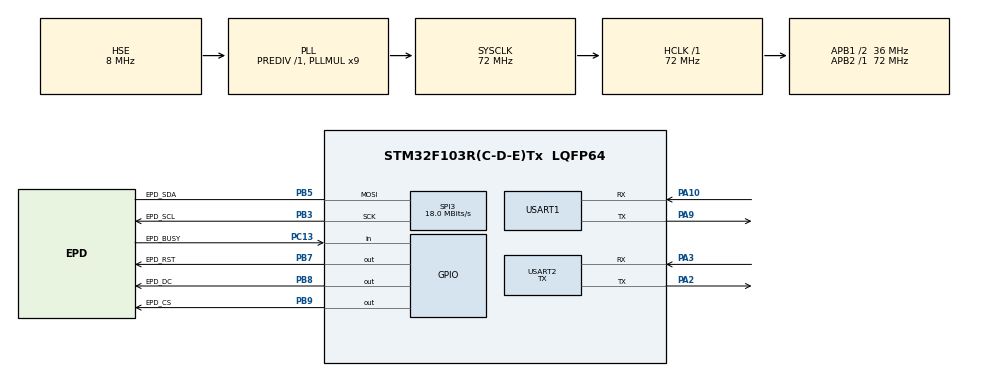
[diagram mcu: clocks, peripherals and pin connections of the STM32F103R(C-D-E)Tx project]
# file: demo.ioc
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Mcu.Family=STM32F1
Mcu.Name=STM32F103R(C-D-E)Tx
Mcu.Package=LQFP64
NVIC.PriorityGroup=NVIC_PRIORITYGROUP_4
NVIC.USART1_IRQn=true\:0\:0\:false\:false\:true\:true\:true\:true
PA10.Mode=Asynchronous
PA10.Signal=USART1_RX
PA13.Mode=Serial_Wire
PA13.Signal=SYS_JTMS-SWDIO
PA14.Mode=Serial_Wire
PA14.Signal=SYS_JTCK-SWCLK
PA2.Mode=Asynchronous
PA2.Signal=USART2_TX
PA3.Mode=Asynchronous
PA3.Signal=USART2_RX
PA9.Mode=Asynchronous
PA9.Signal=USART1_TX
PB3.GPIO_Label=EPD_SCL
PB3.Mode=Simplex_Bidirectional_Master
PB3.Signal=SPI3_SCK
PB5.GPIO_Label=EPD_SDA
PB5.Mode=Simplex_Bidirectional_Master
PB5.Signal=SPI3_MOSI
PB7.GPIO_Label=EPD_RST
PB7.Signal=GPIO_Output
PB8.GPIO_Label=EPD_DC
PB8.Signal=GPIO_Output
PB9.GPIO_Label=EPD_CS
PB9.Signal=GPIO_Output
PC13-TAMPER-RTC.GPIO_Label=EPD_BUSY
PC13-TAMPER-RTC.GPIO_PuPd=GPIO_PULLDOWN
PC13-TAMPER-RTC.Signal=GPIO_Input
PD0-OSC_IN.Mode=HSE-External-Oscillator
PD0-OSC_IN.Signal=RCC_OSC_IN
PD1-OSC_OUT.Mode=HSE-External-Oscillator
PD1-OSC_OUT.Signal=RCC_OSC_OUT
ProjectManager.HeapSize=0x200
ProjectManager.StackSize=0x400
ProjectManager.TargetToolchain=MDK-ARM V5
RCC.AHBFreq_Value=72000000
RCC.APB1CLKDivider=RCC_HCLK_DIV2
RCC.APB1Freq_Value=36000000
RCC.APB1TimFreq_Value=72000000
RCC.APB2Freq_Value=72000000
RCC.APB2TimFreq_Value=72000000
RCC.HCLKFreq_Value=72000000
RCC.PLLMUL=RCC_PLL_MUL9
RCC.PLLSourceVirtual=RCC_PLLSOURCE_HSE
RCC.SYSCLKFreq_VALUE=72000000
RCC.SYSCLKSource=RCC_SYSCLKSOURCE_PLLCLK
RCC.USBFreq_Value=72000000
SPI3.CalculateBaudRate=18.0 MBits/s
SPI3.Direction=SPI_DIRECTION_1LINE
SPI3.Mode=SPI_MODE_MASTER
SPI3.VirtualType=VM_MASTER
USART1.VirtualMode=VM_ASYNC
USART2.Mode=MODE_TX
USART2.VirtualMode=VM_ASYNC
board=custom

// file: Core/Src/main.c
/* USER CODE BEGIN Header */
/**
 ******************************************************************************
 * @file           : main.c
 * @brief          : Main program body
 ******************************************************************************
 * @attention
 *
 * <h2><center>&copy; Copyright (c) 2022 STMicroelectronics.
 * All rights reserved.</center></h2>
 *
 * This software component is licensed by ST under BSD 3-Clause license,
 * the "License"; You may not use this file except in compliance with the
 * License. You may obtain a copy of the License at:
 *                        opensource.org/licenses/BSD-3-Clause
 *
 ******************************************************************************
 */
/* USER CODE END Header */
#include "main.h"
#include "spi.h"
#include "usart.h"
#include "gpio.h"

/* USER CODE BEGIN Includes */
#include <stdlib.h>
#include "epd_1in54/epd_1in54.h"
#include "image/image.h"
/* USER CODE END Includes */

void SystemClock_Config(void);

int main(void)
{

    /* MCU Configuration--------------------------------------------------------*/

    /* Reset of all peripherals, Initializes the Flash interface and the Systick. */
    HAL_Init();

    /* Configure the system clock */
    SystemClock_Config();

    /* Initialize all configured peripherals */
    MX_GPIO_Init();
    MX_USART1_UART_Init();
    MX_SPI3_Init();
    MX_USART2_UART_Init();

    /* Infinite loop */
    /* USER CODE BEGIN WHILE */

    epd_init();

    // clear screen
    epd_clear(EPD_COLOR_BLACK);
    epd_update();
    epd_delay_ms(3000);
    epd_clear(EPD_COLOR_WHITE);
    epd_update();
    epd_delay_ms(3000);

#if 0  // x 和 w 为 8 的倍数比较好

    epd_clear(0b00110011);
    printf("1");
    epd_update();
    epd_delay_ms(3000);
#if 1
    epd_fill_rect(32, 32, 40, 40, EPD_COLOR_BLACK);
    epd_fill_rect(56, 56, 40, 40, EPD_COLOR_WHITE);
#else
    epd_fill_rect(32, 32, 40, 40, EPD_COLOR_WHITE);
    epd_fill_rect(56, 56, 40, 40, EPD_COLOR_BLACK);
#endif

#else

    epd_draw_image(0, 0, 200, 200, (uint8_t*)image_aniya);

#endif

    epd_update();
    printf("2");

    while (1) {
        /* USER CODE END WHILE */

    }
}

void SystemClock_Config(void)
{
    RCC_OscInitTypeDef RCC_OscInitStruct = {0};
    RCC_ClkInitTypeDef RCC_ClkInitStruct = {0};

    /** Initializes the RCC Oscillators according to the specified parameters
     * in the RCC_OscInitTypeDef structure.
     */
    RCC_OscInitStruct.OscillatorType = RCC_OSCILLATORTYPE_HSE;
    RCC_OscInitStruct.HSEState       = RCC_HSE_ON;
    RCC_OscInitStruct.HSEPredivValue = RCC_HSE_PREDIV_DIV1;
    RCC_OscInitStruct.HSIState       = RCC_HSI_ON;
    RCC_OscInitStruct.PLL.PLLState   = RCC_PLL_ON;
    RCC_OscInitStruct.PLL.PLLSource  = RCC_PLLSOURCE_HSE;
    RCC_OscInitStruct.PLL.PLLMUL     = RCC_PLL_MUL9;
    if (HAL_RCC_OscConfig(&RCC_OscInitStruct) != HAL_OK) {
        Error_Handler();
    }

    /** Initializes the CPU, AHB and APB buses clocks
     */
    RCC_ClkInitStruct.ClockType      = RCC_CLOCKTYPE_HCLK | RCC_CLOCKTYPE_SYSCLK | RCC_CLOCKTYPE_PCLK1 | RCC_CLOCKTYPE_PCLK2;
    RCC_ClkInitStruct.SYSCLKSource   = RCC_SYSCLKSOURCE_PLLCLK;
    RCC_ClkInitStruct.AHBCLKDivider  = RCC_SYSCLK_DIV1;
    RCC_ClkInitStruct.APB1CLKDivider = RCC_HCLK_DIV2;
    RCC_ClkInitStruct.APB2CLKDivider = RCC_HCLK_DIV1;

    if (HAL_RCC_ClockConfig(&RCC_ClkInitStruct, FLASH_LATENCY_2) != HAL_OK) {
        Error_Handler();
    }
}

void Error_Handler(void)
{
}
